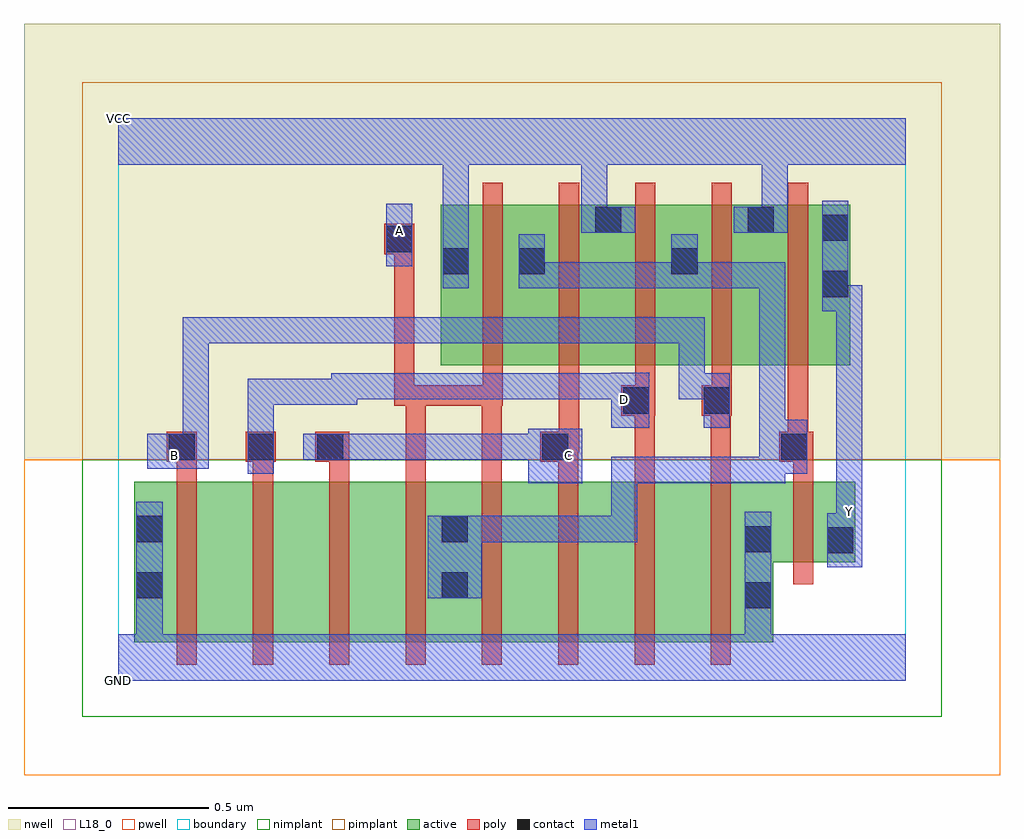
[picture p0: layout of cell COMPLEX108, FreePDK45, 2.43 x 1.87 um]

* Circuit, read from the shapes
.subckt COMPLEX108 A B C D GND VCC Y
M1 n1 B GND VSUBS nfet w=0.4u l=0.05u
M2 n2 D n1 VSUBS nfet w=0.4u l=0.05u
M3 n3 C n2 VSUBS nfet w=0.4u l=0.05u
M4 n4 A n3 VSUBS nfet w=0.4u l=0.05u
M5 n5 A n4 VSUBS nfet w=0.4u l=0.05u
M6 n6 C n5 VSUBS nfet w=0.4u l=0.05u
M7 n7 D n6 VSUBS nfet w=0.4u l=0.05u
M8 GND B n7 VSUBS nfet w=0.4u l=0.05u
M9 Y n4 GND VSUBS nfet w=0.2u l=0.05u
M10 n4 A VCC n8 pfet w=0.4u l=0.05u
M11 VCC C n4 n8 pfet w=0.4u l=0.05u
M12 n4 D VCC n8 pfet w=0.4u l=0.05u
M13 VCC B n4 n8 pfet w=0.4u l=0.05u
M14 Y n4 VCC n8 pfet w=0.4u l=0.05u
.ends

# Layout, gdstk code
import gdstk
lib = gdstk.Library(unit=1e-6, precision=1e-09)
def R(c, l, rs):  # rectangles x0, y0, x1, y1
    for r in rs: c.add(gdstk.rectangle(r[:2], r[2:], *l))
def A(c, l, x, y, w, h, nx, ny, dx, dy):  # array of equal rectangles
    R(c, l, [(x+i*dx, y+j*dy, x+i*dx+w, y+j*dy+h) for i in range(nx) for j in range(ny)])
active = (1, 0)
pwell = (2, 0)
nwell = (3, 0)
nimplant = (4, 0)
pimplant = (5, 0)
poly = (9, 0)
contact = (10, 0)
metal1 = (11, 0)
L18_0 = (18, 0)
boundary = (235, 0)

complex108 = lib.new_cell('COMPLEX108')
A(complex108, active, 0.802, 0.785, 0.265, 0.4, 4, 1, 0.19, 0)
A(complex108, active, 0.802, 0.907, 0.075, 0.278, 3, 1, 0.38, 0)
R(complex108, active, [(0.04,0.095,0.115,0.495), (0.04,0.095,0.265,0.495), (0.265,0.095,0.455,0.495), (0.455,0.095,0.645,0.495), (0.645,0.095,0.875,0.495), (0.8,0.095,1.025,0.495), (0.8,0.095,0.875,0.492), (1.025,0.095,1.215,0.495), (1.215,0.095,1.405,0.495), (1.405,0.095,1.63,0.495), (1.555,0.095,1.63,0.495), (1.555,0.295,1.835,0.495), (1.76,0.295,1.835,0.495), (1.562,0.785,1.822,1.185), (1.747,0.785,1.822,1.165), (1.372,0.802,1.447,1.185), (0.992,0.907,1.067,1.082)])
R(complex108, pwell, [(-0.235,-0.235,2.195,0.55)])
R(complex108, nwell, [(-0.235,0.55,2.195,1.635)])
R(complex108, nimplant, [(-0.09,-0.09,2.05,0.55)])
R(complex108, pimplant, [(-0.09,0.55,2.05,1.49)])
A(complex108, poly, 0.145, 0.04, 0.05, 0.51, 8, 1, 0.19, 0)
A(complex108, poly, 0.145, 0.5, 0.05, 0.095, 3, 1, 0.19, 0)
A(complex108, poly, 0.907, 0.73, 0.05, 0.51, 5, 1, 0.19, 0)
R(complex108, poly, [(1.68,0.24,1.73,0.55), (0.715,0.5,0.765,0.735), (0.905,0.5,0.955,0.735), (1.095,0.5,1.145,0.595), (1.285,0.5,1.335,0.71), (1.475,0.5,1.525,0.71), (1.68,0.5,1.73,0.595), (0.12,0.545,0.195,0.62), (0.145,0.545,0.195,0.595), (0.145,0.545,0.195,0.595), (0.317,0.545,0.392,0.62), (0.335,0.545,0.385,0.595), (0.335,0.545,0.385,0.595), (0.49,0.545,0.575,0.62), (1.05,0.545,1.145,0.62), (1.645,0.545,1.73,0.62), (1.095,0.57,1.145,0.62), (1.095,0.57,1.147,0.62), (1.097,0.57,1.147,0.78), (1.667,0.57,1.717,0.78), (1.667,0.57,1.717,0.62), (1.667,0.57,1.717,0.62), (1.252,0.66,1.337,0.735), (1.285,0.66,1.335,0.71), (1.285,0.66,1.335,0.71), (1.452,0.66,1.527,0.735), (1.475,0.66,1.525,0.71), (1.475,0.66,1.525,0.71), (0.687,0.685,0.737,0.735), (0.687,0.685,0.737,0.735), (0.687,0.685,0.737,0.735), (0.687,0.685,0.737,0.735), (0.687,0.685,0.737,1.112), (0.687,0.685,0.765,0.735), (0.715,0.685,0.955,0.735), (0.905,0.685,0.955,0.735), (0.905,0.685,0.955,0.735), (0.905,0.685,0.955,0.735), (0.905,0.685,0.955,0.735), (0.905,0.685,0.957,0.735), (0.907,0.685,0.957,0.78), (1.287,0.685,1.337,0.78), (1.477,0.685,1.527,0.78), (0.662,1.062,0.737,1.137)])
R(complex108, contact, [(1.56,0.18,1.625,0.245), (0.045,0.205,0.11,0.27), (0.805,0.205,0.87,0.27), (1.765,0.317,1.83,0.382), (1.56,0.32,1.625,0.385), (0.045,0.345,0.11,0.41), (0.805,0.345,0.87,0.41), (0.125,0.55,0.19,0.615), (0.322,0.55,0.387,0.615), (0.495,0.55,0.56,0.615), (1.055,0.55,1.12,0.615), (1.65,0.55,1.715,0.615), (1.257,0.665,1.322,0.73), (1.457,0.665,1.522,0.73), (1.752,0.955,1.817,1.02), (0.807,1.012,0.872,1.077), (0.997,1.012,1.062,1.077), (1.377,1.012,1.442,1.077), (0.667,1.067,0.732,1.132), (1.752,1.095,1.817,1.16), (1.187,1.115,1.252,1.18), (1.567,1.115,1.632,1.18)])
R(complex108, metal1, [(0,0,1.96,0.115), (0.045,0.05,0.11,0.235), (1.56,0.05,1.625,0.21), (1.56,0.145,1.625,0.42), (0.045,0.17,0.11,0.445), (0.77,0.205,0.905,0.41), (1.765,0.282,1.852,0.417), (0.84,0.345,0.905,0.41), (0.84,0.345,0.905,0.41), (0.84,0.345,1.08,0.41), (1.015,0.345,1.08,0.41), (1.015,0.345,1.08,0.41), (1.015,0.345,1.08,0.41), (1.015,0.345,1.292,0.41), (1.227,0.345,1.292,0.41), (1.227,0.345,1.292,0.557), (1.787,0.352,1.852,0.417), (1.787,0.352,1.852,0.487), (1.787,0.422,1.852,0.985), (1.02,0.492,1.155,0.627), (1.227,0.492,1.292,0.557), (1.227,0.492,1.292,0.557), (1.227,0.492,1.292,0.557), (1.227,0.492,1.46,0.557), (1.395,0.492,1.46,0.557), (1.395,0.492,1.46,0.557), (1.395,0.492,1.46,0.557), (1.395,0.492,1.66,0.557), (1.595,0.492,1.66,0.58), (0.322,0.515,0.387,0.65), (1.595,0.515,1.66,0.58), (1.595,0.515,1.66,0.58), (1.595,0.515,1.66,0.58), (1.595,0.515,1.66,0.58), (1.595,0.515,1.715,0.58), (1.595,0.515,1.66,1.042), (1.65,0.515,1.715,0.65), (0.072,0.527,0.225,0.615), (0.16,0.55,0.225,0.615), (0.16,0.55,0.225,0.615), (0.16,0.55,0.225,0.905), (0.46,0.55,0.595,0.615), (0.53,0.55,0.595,0.615), (0.53,0.55,0.595,0.615), (0.53,0.55,0.732,0.615), (0.667,0.55,0.732,0.615), (0.667,0.55,0.732,0.615), (0.667,0.55,0.732,0.615), (0.667,0.55,0.87,0.615), (0.805,0.55,0.87,0.615), (0.805,0.55,1.08,0.615), (1.015,0.55,1.08,0.615), (1.015,0.55,1.085,0.615), (0.322,0.585,0.387,0.65), (0.322,0.585,0.387,0.752), (1.227,0.63,1.322,0.767), (1.457,0.63,1.522,0.765), (0.322,0.687,0.595,0.752), (0.53,0.687,0.595,0.752), (0.53,0.687,0.595,0.752), (0.53,0.687,0.595,0.765), (0.53,0.7,0.732,0.765), (0.667,0.7,0.732,0.765), (0.667,0.7,0.732,0.765), (0.667,0.7,0.732,0.765), (0.667,0.7,0.87,0.765), (0.805,0.7,0.87,0.765), (0.805,0.7,1.08,0.765), (1.015,0.7,1.08,0.765), (1.015,0.7,1.08,0.765), (1.015,0.7,1.08,0.765), (1.015,0.7,1.292,0.765), (1.227,0.7,1.292,0.765), (1.227,0.7,1.292,0.765), (1.395,0.7,1.46,0.765), (1.395,0.7,1.522,0.765), (1.395,0.7,1.46,0.905), (0.16,0.84,0.225,0.905), (0.16,0.84,0.387,0.905), (0.322,0.84,0.387,0.905), (0.322,0.84,0.387,0.905), (0.322,0.84,0.387,0.905), (0.322,0.84,0.525,0.905), (0.46,0.84,0.525,0.905), (0.46,0.84,0.525,0.905), (0.46,0.84,0.525,0.905), (0.46,0.84,0.732,0.905), (0.667,0.84,0.732,0.905), (0.667,0.84,0.732,0.905), (0.667,0.84,0.732,0.905), (0.667,0.84,0.925,0.905), (0.86,0.84,0.925,0.905), (0.86,0.84,1.08,0.905), (1.015,0.84,1.08,0.905), (1.015,0.84,1.08,0.905), (1.015,0.84,1.08,0.905), (1.015,0.84,1.305,0.905), (1.24,0.84,1.305,0.905), (1.24,0.84,1.305,0.905), (1.24,0.84,1.305,0.905), (1.24,0.84,1.46,0.905), (1.395,0.84,1.46,0.905), (1.752,0.92,1.817,0.985), (1.752,0.92,1.817,1.195), (1.752,0.92,1.852,0.985), (0.807,0.977,0.872,1.112), (0.997,0.977,1.062,1.042), (0.997,0.977,1.062,1.042), (0.997,0.977,1.062,1.112), (0.997,0.977,1.292,1.042), (1.227,0.977,1.292,1.042), (1.227,0.977,1.292,1.042), (1.227,0.977,1.292,1.042), (1.227,0.977,1.442,1.042), (1.377,0.977,1.442,1.112), (1.377,0.977,1.46,1.042), (1.395,0.977,1.46,1.042), (1.395,0.977,1.66,1.042), (1.595,0.977,1.66,1.042), (0.667,1.032,0.732,1.187), (0.807,1.047,0.872,1.35), (1.152,1.115,1.217,1.18), (1.152,1.115,1.217,1.18), (1.152,1.115,1.217,1.35), (1.152,1.115,1.287,1.18), (1.532,1.115,1.667,1.18), (1.602,1.115,1.667,1.18), (1.602,1.115,1.667,1.18), (1.602,1.115,1.667,1.35), (0,1.285,1.96,1.4), (0.807,1.285,0.872,1.35), (0.807,1.285,0.872,1.35)])
R(complex108, L18_0, [(0,0,1.96,0.115), (0.045,0.05,0.11,0.235), (1.56,0.05,1.625,0.21), (1.56,0.145,1.625,0.42), (0.045,0.17,0.11,0.445), (1.765,0.282,1.852,0.417), (1.787,0.352,1.852,0.417), (1.787,0.352,1.852,0.487), (1.787,0.387,1.852,0.452), (1.787,0.422,1.852,0.985), (1.02,0.492,1.155,0.627), (0.322,0.515,0.387,0.65), (0.072,0.527,0.225,0.615), (0.107,0.527,0.172,0.592), (1.087,0.527,1.152,0.592), (0.16,0.55,0.225,0.615), (0.16,0.55,0.225,0.615), (0.16,0.55,0.225,0.905), (0.46,0.55,0.595,0.615), (0.53,0.55,0.595,0.615), (0.53,0.55,0.595,0.615), (0.53,0.55,0.732,0.615), (0.667,0.55,0.732,0.615), (0.667,0.55,0.732,0.615), (0.667,0.55,0.732,0.615), (0.667,0.55,0.87,0.615), (0.805,0.55,0.87,0.615), (0.805,0.55,1.08,0.615), (1.015,0.55,1.08,0.615), (1.015,0.55,1.085,0.615), (0.322,0.585,0.387,0.65), (0.322,0.585,0.387,0.752), (1.227,0.63,1.322,0.767), (1.457,0.63,1.522,0.765), (1.227,0.667,1.292,0.732), (0.322,0.687,0.595,0.752), (0.53,0.687,0.595,0.752), (0.53,0.687,0.595,0.752), (0.53,0.687,0.595,0.765), (0.53,0.7,0.732,0.765), (0.667,0.7,0.732,0.765), (0.667,0.7,0.732,0.765), (0.667,0.7,0.732,0.765), (0.667,0.7,0.87,0.765), (0.805,0.7,0.87,0.765), (0.805,0.7,1.08,0.765), (1.015,0.7,1.08,0.765), (1.015,0.7,1.08,0.765), (1.015,0.7,1.08,0.765), (1.015,0.7,1.292,0.765), (1.227,0.7,1.292,0.765), (1.227,0.7,1.292,0.765), (1.395,0.7,1.46,0.765), (1.395,0.7,1.46,0.905), (1.395,0.7,1.522,0.765), (0.16,0.84,0.225,0.905), (0.16,0.84,0.387,0.905), (0.322,0.84,0.387,0.905), (0.322,0.84,0.387,0.905), (0.322,0.84,0.387,0.905), (0.322,0.84,0.525,0.905), (0.46,0.84,0.525,0.905), (0.46,0.84,0.525,0.905), (0.46,0.84,0.525,0.905), (0.46,0.84,0.732,0.905), (0.667,0.84,0.732,0.905), (0.667,0.84,0.732,0.905), (0.667,0.84,0.732,0.905), (0.667,0.84,0.925,0.905), (0.86,0.84,0.925,0.905), (0.86,0.84,1.08,0.905), (1.015,0.84,1.08,0.905), (1.015,0.84,1.08,0.905), (1.015,0.84,1.08,0.905), (1.015,0.84,1.305,0.905), (1.24,0.84,1.305,0.905), (1.24,0.84,1.305,0.905), (1.24,0.84,1.305,0.905), (1.24,0.84,1.46,0.905), (1.395,0.84,1.46,0.905), (1.752,0.92,1.817,1.195), (1.752,0.92,1.817,0.985), (1.752,0.92,1.852,0.985), (0.807,0.977,0.872,1.112), (0.667,1.032,0.732,1.187), (0.807,1.047,0.872,1.35), (0.667,1.087,0.732,1.152), (1.152,1.115,1.217,1.18), (1.152,1.115,1.217,1.18), (1.152,1.115,1.287,1.18), (1.152,1.115,1.217,1.35), (1.532,1.115,1.667,1.18), (1.602,1.115,1.667,1.18), (1.602,1.115,1.667,1.18), (1.602,1.115,1.667,1.35), (0,1.285,1.96,1.4), (0.807,1.285,0.872,1.35), (0.807,1.285,0.872,1.35)])
R(complex108, boundary, [(0,0,1.96,1.4)])
complex108.add(gdstk.Label('A', (0.7,1.12), layer=11, texttype=0))
complex108.add(gdstk.Label('B', (0.14,0.56), layer=11, texttype=0))
complex108.add(gdstk.Label('C', (1.12,0.56), layer=11, texttype=0))
complex108.add(gdstk.Label('D', (1.26,0.7), layer=11, texttype=0))
complex108.add(gdstk.Label('Y', (1.82,0.42), layer=11, texttype=0))
complex108.add(gdstk.Label('VCC', (0,1.4), layer=11, texttype=0))
complex108.add(gdstk.Label('GND', (0,0), layer=11, texttype=0))

lib.write_gds('COMPLEX108.gds')
